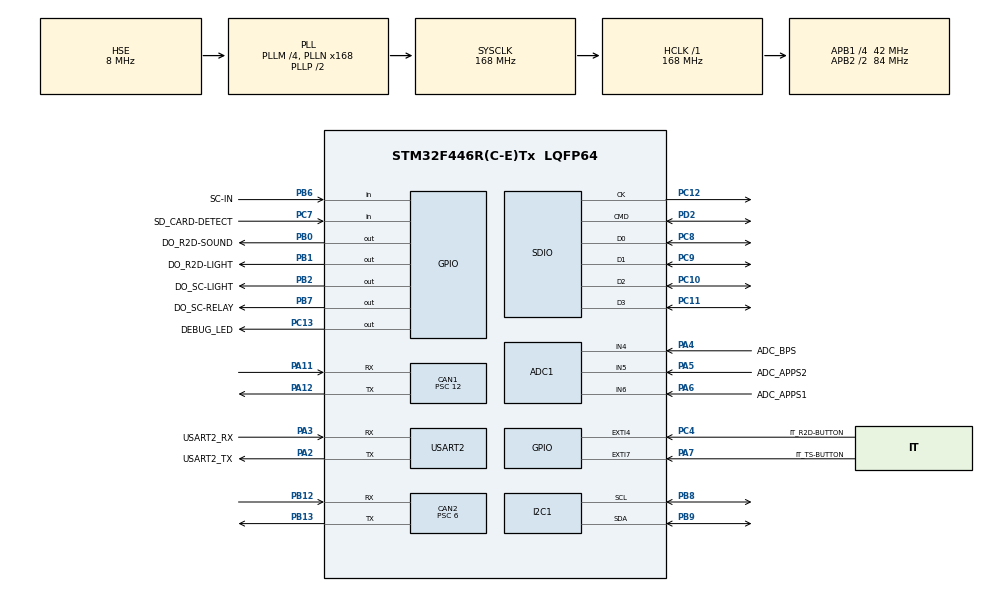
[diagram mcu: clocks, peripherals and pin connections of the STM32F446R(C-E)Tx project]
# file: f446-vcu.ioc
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ADC1.Channel-0\#ChannelRegularConversion=ADC_CHANNEL_4
ADC1.Channel-2\#ChannelRegularConversion=ADC_CHANNEL_5
ADC1.Channel-3\#ChannelRegularConversion=ADC_CHANNEL_6
ADC1.ClockPrescaler=ADC_CLOCK_SYNC_PCLK_DIV8
ADC1.ContinuousConvMode=ENABLE
ADC1.DMAContinuousRequests=ENABLE
ADC1.NbrOfConversion=3
ADC1.NbrOfConversionFlag=1
ADC1.Rank-0\#ChannelRegularConversion=1
ADC1.Rank-2\#ChannelRegularConversion=2
ADC1.Rank-3\#ChannelRegularConversion=3
ADC1.SamplingTime-0\#ChannelRegularConversion=ADC_SAMPLETIME_56CYCLES
ADC1.SamplingTime-2\#ChannelRegularConversion=ADC_SAMPLETIME_56CYCLES
ADC1.SamplingTime-3\#ChannelRegularConversion=ADC_SAMPLETIME_56CYCLES
ADC1.ScanConvMode=ENABLE
ADC1.master=1
CAN1.ABOM=ENABLE
CAN1.AWUM=ENABLE
CAN1.BS1=CAN_BS1_11TQ
CAN1.BS2=CAN_BS2_2TQ
CAN1.CalculateBaudRate=250000
CAN1.CalculateTimeBit=4000
CAN1.CalculateTimeQuantum=285.7142857142857
CAN1.NART=ENABLE
CAN1.Prescaler=12
CAN2.ABOM=ENABLE
CAN2.AWUM=ENABLE
CAN2.BS1=CAN_BS1_11TQ
CAN2.BS2=CAN_BS2_2TQ
CAN2.CalculateBaudRate=500000
CAN2.CalculateTimeBit=2000
CAN2.CalculateTimeQuantum=142.85714285714286
CAN2.NART=ENABLE
CAN2.Prescaler=6
Dma.ADC1.4.Direction=DMA_PERIPH_TO_MEMORY
Dma.ADC1.4.FIFOMode=DMA_FIFOMODE_DISABLE
Dma.ADC1.4.Instance=DMA2_Stream0
Dma.ADC1.4.MemDataAlignment=DMA_MDATAALIGN_HALFWORD
Dma.ADC1.4.MemInc=DMA_MINC_ENABLE
Dma.ADC1.4.Mode=DMA_CIRCULAR
Dma.ADC1.4.PeriphDataAlignment=DMA_PDATAALIGN_HALFWORD
Dma.ADC1.4.PeriphInc=DMA_PINC_DISABLE
Dma.ADC1.4.Priority=DMA_PRIORITY_LOW
Dma.I2C1_TX.1.Direction=DMA_MEMORY_TO_PERIPH
Dma.I2C1_TX.1.FIFOMode=DMA_FIFOMODE_ENABLE
Dma.I2C1_TX.1.FIFOThreshold=DMA_FIFO_THRESHOLD_FULL
Dma.I2C1_TX.1.Instance=DMA1_Stream7
Dma.I2C1_TX.1.MemBurst=DMA_MBURST_SINGLE
Dma.I2C1_TX.1.MemDataAlignment=DMA_MDATAALIGN_BYTE
Dma.I2C1_TX.1.MemInc=DMA_MINC_ENABLE
Dma.I2C1_TX.1.Mode=DMA_NORMAL
Dma.I2C1_TX.1.PeriphBurst=DMA_PBURST_SINGLE
Dma.I2C1_TX.1.PeriphDataAlignment=DMA_PDATAALIGN_BYTE
Dma.I2C1_TX.1.PeriphInc=DMA_PINC_DISABLE
Dma.I2C1_TX.1.Priority=DMA_PRIORITY_LOW
Dma.Request0=USART2_TX
Dma.Request1=I2C1_TX
Dma.Request2=SDIO_RX
Dma.Request3=SDIO_TX
Dma.Request4=ADC1
Dma.SDIO_RX.2.Direction=DMA_PERIPH_TO_MEMORY
Dma.SDIO_RX.2.FIFOMode=DMA_FIFOMODE_ENABLE
Dma.SDIO_RX.2.FIFOThreshold=DMA_FIFO_THRESHOLD_FULL
Dma.SDIO_RX.2.Instance=DMA2_Stream3
Dma.SDIO_RX.2.MemBurst=DMA_MBURST_INC4
Dma.SDIO_RX.2.MemDataAlignment=DMA_MDATAALIGN_WORD
Dma.SDIO_RX.2.MemInc=DMA_MINC_ENABLE
Dma.SDIO_RX.2.Mode=DMA_PFCTRL
Dma.SDIO_RX.2.PeriphBurst=DMA_PBURST_INC4
Dma.SDIO_RX.2.PeriphDataAlignment=DMA_PDATAALIGN_WORD
Dma.SDIO_RX.2.PeriphInc=DMA_PINC_DISABLE
Dma.SDIO_RX.2.Priority=DMA_PRIORITY_LOW
Dma.SDIO_TX.3.Direction=DMA_MEMORY_TO_PERIPH
Dma.SDIO_TX.3.FIFOMode=DMA_FIFOMODE_ENABLE
Dma.SDIO_TX.3.FIFOThreshold=DMA_FIFO_THRESHOLD_FULL
Dma.SDIO_TX.3.Instance=DMA2_Stream6
Dma.SDIO_TX.3.MemBurst=DMA_MBURST_INC4
Dma.SDIO_TX.3.MemDataAlignment=DMA_MDATAALIGN_WORD
Dma.SDIO_TX.3.MemInc=DMA_MINC_ENABLE
Dma.SDIO_TX.3.Mode=DMA_PFCTRL
Dma.SDIO_TX.3.PeriphBurst=DMA_PBURST_INC4
Dma.SDIO_TX.3.PeriphDataAlignment=DMA_PDATAALIGN_WORD
Dma.SDIO_TX.3.PeriphInc=DMA_PINC_DISABLE
Dma.SDIO_TX.3.Priority=DMA_PRIORITY_LOW
Dma.USART2_TX.0.Direction=DMA_MEMORY_TO_PERIPH
Dma.USART2_TX.0.FIFOMode=DMA_FIFOMODE_DISABLE
Dma.USART2_TX.0.Instance=DMA1_Stream6
Dma.USART2_TX.0.MemDataAlignment=DMA_MDATAALIGN_BYTE
Dma.USART2_TX.0.MemInc=DMA_MINC_ENABLE
Dma.USART2_TX.0.Mode=DMA_NORMAL
Dma.USART2_TX.0.PeriphDataAlignment=DMA_PDATAALIGN_BYTE
Dma.USART2_TX.0.PeriphInc=DMA_PINC_DISABLE
Dma.USART2_TX.0.Priority=DMA_PRIORITY_LOW
FATFS.BSP.number=1
FATFS._FS_EXFAT=1
FATFS._USE_CHMOD=1
FATFS._USE_EXPAND=1
FATFS._USE_FIND=1
FATFS._USE_FORWARD=1
FATFS._USE_LABEL=1
FATFS._USE_LFN=3
FATFS0.BSP.STBoard=false
FATFS0.BSP.api=Unknown
FATFS0.BSP.instance=PC7
FATFS0.BSP.ip=GPIO
FATFS0.BSP.mode=Input
FATFS0.BSP.name=Detect_SDIO
FATFS0.BSP.solution=PC7
FREERTOS.Queues01=q_printf,16,printfString_t,0,Dynamic,NULL,NULL;q_can1Tx,16,CanTxMsg,0,Dynamic,NULL,NULL;q_can2Tx,16,CanTxMsg,0,Dynamic,NULL,NULL
FREERTOS.Tasks01=t_main,24,512,t_main_func,Default,NULL,Dynamic,NULL,NULL;t_faultHandler,40,512,t_faultHandler_func,Default,NULL,Dynamic,NULL,NULL;t_uart,32,512,t_uart_func,As external,NULL,Dynamic,NULL,NULL;t_logging,8,512,t_logging_func,Default,NULL,Dynamic,NULL,NULL;t_can,32,512,t_can_func,As external,NULL,Dynamic,NULL,NULL
FREERTOS.Timers01=tim_invrtrCmd,invrtrCmd_Callback,osTimerPeriodic,Default,NULL,Dynamic,NULL
FREERTOS.configENABLE_FPU=1
FREERTOS.configMAX_TASK_NAME_LEN=32
FREERTOS.configMINIMAL_STACK_SIZE=512
FREERTOS.configTOTAL_HEAP_SIZE=32000
FREERTOS.configUSE_NEWLIB_REENTRANT=1
I2C1.I2C_Mode=I2C_Fast
Mcu.Family=STM32F4
Mcu.Name=STM32F446R(C-E)Tx
Mcu.Package=LQFP64
NVIC.CAN1_RX0_IRQn=true\:5\:0\:false\:false\:true\:true\:true\:true\:true
NVIC.CAN1_RX1_IRQn=true\:5\:0\:false\:false\:true\:true\:true\:true\:true
NVIC.CAN1_SCE_IRQn=true\:5\:0\:false\:false\:true\:true\:true\:true\:true
NVIC.CAN1_TX_IRQn=true\:5\:0\:false\:false\:true\:true\:true\:true\:true
NVIC.CAN2_RX0_IRQn=true\:5\:0\:false\:false\:true\:true\:true\:true\:true
NVIC.CAN2_RX1_IRQn=true\:5\:0\:false\:false\:true\:true\:true\:true\:true
NVIC.CAN2_SCE_IRQn=true\:5\:0\:false\:false\:true\:true\:true\:true\:true
NVIC.DMA1_Stream6_IRQn=true\:5\:0\:false\:false\:true\:true\:false\:true\:true
NVIC.DMA1_Stream7_IRQn=true\:5\:0\:false\:false\:true\:true\:false\:true\:true
NVIC.DMA2_Stream0_IRQn=true\:5\:0\:false\:false\:true\:true\:false\:true\:true
NVIC.DMA2_Stream3_IRQn=true\:5\:0\:false\:false\:true\:true\:false\:true\:true
NVIC.DMA2_Stream6_IRQn=true\:5\:0\:false\:false\:true\:true\:false\:true\:true
NVIC.EXTI4_IRQn=true\:5\:0\:false\:false\:true\:true\:true\:true\:true
NVIC.EXTI9_5_IRQn=true\:5\:0\:false\:false\:true\:true\:true\:true\:true
NVIC.I2C1_EV_IRQn=true\:5\:0\:false\:false\:true\:true\:true\:true\:true
NVIC.PriorityGroup=NVIC_PRIORITYGROUP_4
NVIC.SDIO_IRQn=true\:5\:0\:false\:false\:true\:true\:true\:true\:true
NVIC.TIM4_IRQn=true\:15\:0\:false\:false\:true\:false\:false\:true\:true
NVIC.TimeBase=TIM4_IRQn
NVIC.TimeBaseIP=TIM4
NVIC.USART2_IRQn=true\:5\:0\:false\:false\:true\:true\:true\:true\:true
PA11.Mode=CAN_Activate
PA11.Signal=CAN1_RX
PA12.Mode=CAN_Activate
PA12.Signal=CAN1_TX
PA13.GPIO_Label=SWDIO
PA13.Mode=Trace_Asynchronous_SW
PA13.Signal=SYS_JTMS-SWDIO
PA14.GPIO_Label=SWCLK
PA14.Mode=Trace_Asynchronous_SW
PA14.Signal=SYS_JTCK-SWCLK
PA2.GPIO_Label=USART2_TX
PA2.Mode=Asynchronous
PA2.Signal=USART2_TX
PA3.GPIO_Label=USART2_RX
PA3.Mode=Asynchronous
PA3.Signal=USART2_RX
PA4.GPIO_Label=ADC_BPS
PA4.Signal=ADCx_IN4
PA5.GPIO_Label=ADC_APPS2
PA5.Signal=ADCx_IN5
PA6.GPIO_Label=ADC_APPS1
PA6.Signal=ADCx_IN6
PA7.GPIO_Label=IT_TS-BUTTON
PA7.GPIO_ModeDefaultEXTI=GPIO_MODE_IT_RISING
PA7.GPIO_PuPd=GPIO_PULLDOWN
PA7.Signal=GPXTI7
PB0.GPIO_Label=DO_R2D-SOUND
PB0.Signal=GPIO_Output
PB1.GPIO_Label=DO_R2D-LIGHT
PB1.Signal=GPIO_Output
PB12.Mode=CAN_Activate
PB12.Signal=CAN2_RX
PB13.Mode=CAN_Activate
PB13.Signal=CAN2_TX
PB2.GPIO_Label=DO_SC-LIGHT
PB2.Signal=GPIO_Output
PB3.GPIO_Label=SWO
PB3.Mode=Trace_Asynchronous_SW
PB3.Signal=SYS_JTDO-SWO
PB6.GPIO_Label=SC-IN
PB6.GPIO_PuPd=GPIO_PULLDOWN
PB6.Signal=GPIO_Input
PB7.GPIO_Label=DO_SC-RELAY
PB7.Signal=GPIO_Output
PB8.GPIO_Speed=GPIO_SPEED_FREQ_VERY_HIGH
PB8.Mode=I2C
PB8.Signal=I2C1_SCL
PB9.GPIO_Speed=GPIO_SPEED_FREQ_VERY_HIGH
PB9.Mode=I2C
PB9.Signal=I2C1_SDA
PC10.GPIO_PuPd=GPIO_PULLUP
PC10.GPIO_Speed_High_Default=GPIO_SPEED_FREQ_MEDIUM
PC10.Mode=SD_4_bits_Wide_bus
PC10.Signal=SDIO_D2
PC11.GPIO_PuPd=GPIO_PULLUP
PC11.GPIO_Speed_High_Default=GPIO_SPEED_FREQ_MEDIUM
PC11.Mode=SD_4_bits_Wide_bus
PC11.Signal=SDIO_D3
PC12.GPIO_Speed_High_Default=GPIO_SPEED_FREQ_MEDIUM
PC12.Mode=SD_4_bits_Wide_bus
PC12.Signal=SDIO_CK
PC13.GPIO_Label=DEBUG_LED
PC13.Signal=GPIO_Output
PC4.GPIO_Label=IT_R2D-BUTTON
PC4.GPIO_PuPd=GPIO_PULLDOWN
PC4.Signal=GPXTI4
PC7.GPIO_Label=SD_CARD-DETECT
PC7.GPIO_PuPd=GPIO_PULLDOWN
PC7.Signal=GPIO_Input
PC8.GPIO_PuPd=GPIO_PULLUP
PC8.GPIO_Speed_High_Default=GPIO_SPEED_FREQ_MEDIUM
PC8.Mode=SD_4_bits_Wide_bus
PC8.Signal=SDIO_D0
PC9.GPIO_PuPd=GPIO_PULLUP
PC9.GPIO_Speed_High_Default=GPIO_SPEED_FREQ_MEDIUM
PC9.Mode=SD_4_bits_Wide_bus
PC9.Signal=SDIO_D1
PD2.GPIO_PuPd=GPIO_PULLUP
PD2.GPIO_Speed_High_Default=GPIO_SPEED_FREQ_MEDIUM
PD2.Mode=SD_4_bits_Wide_bus
PD2.Signal=SDIO_CMD
PH0-OSC_IN.Mode=HSE-External-Oscillator
PH0-OSC_IN.Signal=RCC_OSC_IN
PH1-OSC_OUT.Mode=HSE-External-Oscillator
PH1-OSC_OUT.Signal=RCC_OSC_OUT
ProjectManager.HeapSize=0x400
ProjectManager.StackSize=0x800
ProjectManager.TargetToolchain=STM32CubeIDE
RCC.AHBFreq_Value=168000000
RCC.APB1CLKDivider=RCC_HCLK_DIV4
RCC.APB1Freq_Value=42000000
RCC.APB1TimFreq_Value=84000000
RCC.APB2CLKDivider=RCC_HCLK_DIV2
RCC.APB2Freq_Value=84000000
RCC.APB2TimFreq_Value=168000000
RCC.CortexFreq_Value=168000000
RCC.FLatency-AdvancedSettings=FLASH_LATENCY_5
RCC.HCLKFreq_Value=168000000
RCC.HSE_VALUE=8000000
RCC.HSI_VALUE=16000000
RCC.LSE_VALUE=32768
RCC.LockedElements=SDIOoutput
RCC.PLLM=4
RCC.PLLN=168
RCC.PLLQ=7
RCC.PLLSourceVirtual=RCC_PLLSOURCE_HSE
RCC.SYSCLKFreq_VALUE=168000000
RCC.SYSCLKSource=RCC_SYSCLKSOURCE_PLLCLK
RCC.USBFreq_Value=48000000
RCC.VCOOutputFreq_Value=336000000
SDIO.ClockDiv=0
SH.ADCx_IN4.0=ADC1_IN4,IN4
SH.ADCx_IN5.0=ADC1_IN5,IN5
SH.ADCx_IN6.0=ADC1_IN6,IN6
USART2.VirtualMode=VM_ASYNC
VP_FATFS_VS_SDIO.Mode=SDIO
VP_FREERTOS_VS_CMSIS_V2.Mode=CMSIS_V2
VP_SYS_VS_tim4.Mode=TIM4
board=NUCLEO-F446RE

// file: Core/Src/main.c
/* USER CODE BEGIN Header */
/**
  ******************************************************************************
  * @file           : main.c
  * @brief          : Main program body
  ******************************************************************************
  * @attention
  *
  * Copyright (c) 2024 STMicroelectronics.
  * All rights reserved.
  *
  * This software is licensed under terms that can be found in the LICENSE file
  * in the root directory of this software component.
  * If no LICENSE file comes with this software, it is provided AS-IS.
  *
  ******************************************************************************
  */
/* USER CODE END Header */
#include "main.h"
#include "cmsis_os.h"
#include "fatfs.h"

/* USER CODE BEGIN Includes */

#include "stdbool.h"
#include "string.h"
#include "stdio.h"
#include "math.h"

#include "uartDMA.h"
#include "ssd1306.h"
#include "inverter.h"
#include "vcu_can.h"

/* USER CODE END Includes */

/* USER CODE BEGIN PTD */

typedef enum
{
    TS_INACTIVE,
    TS_ACTIVE,
    R2D_TRANSITION,
    R2D_MODE,
} VcuState;

typedef struct
{
    bool APPS1_SCS;
    bool APPS2_SCS;
    bool APPS_PB;

    bool BPS_SCS;
    bool BPS_PB;
} VcuErrors;

typedef struct
{
    bool SDC_Disconnected;
} VcuCritErrors;

/* USER CODE END PTD */

/* USER CODE BEGIN PD */
#define ADC_BUF_LEN (1024 * 3)

VcuErrors vcuError = {0};
VcuCritErrors vcuCritError = {0};

volatile VcuState currVcuState = TS_INACTIVE;
volatile VcuState prevVcuState = TS_INACTIVE;

uint16_t adc1Buff[ADC_BUF_LEN]; // buffer to store values read from adc1
uint16_t volatile apps1Avg = 0;
uint16_t volatile apps2Avg = 0;
uint16_t volatile bpsAvg = 0;

float volatile apps1Scaled = 0;
float volatile apps2Scaled = 0;
float volatile appsPosition = 0;

float volatile appsDiff = 0;

volatile bool isFaultNormal   = false;
volatile bool isFaultCritical = false;

volatile bool isBrakePressed = false;

bool isCardDetected = false;

// 4.5V -> 3686
// 0.5V -> 410

const uint16_t ADC_MAX = 4095;

const uint16_t APPS1_MAX = 3180;
const uint16_t APPS1_MIN = 420;
const uint16_t APPS2_MAX = 3520;
const uint16_t APPS2_MIN = 845;
const uint16_t APPS_SCS_OFFSET = 0.1 / 5.0 * ADC_MAX;   // Volts offset to be considered SCS Fault

const uint16_t BPS_THRESH = ADC_MAX * 0.5;
const uint16_t BPS_SCS_UPPER = 4.75 / 5.0 * ADC_MAX;
const uint16_t BPS_SCS_LOWER = 0.25 / 5.0 * ADC_MAX;

const bool     CMD_SEL_ERPM = true;         // TRUE: ERPM, FALSE: CURRENT
const uint32_t CMD_ERPM_MAX = 50000;        // ERPM = Motor RPM * number of the motor pole pairs
const float    CMD_DC_CURRENT_MAX = 10;     // Amps
const float    CMD_AC_CURRENT_MAX = 10;     // Amps

/* USER CODE END PD */

ADC_HandleTypeDef hadc1;
DMA_HandleTypeDef hdma_adc1;

CAN_HandleTypeDef hcan1;
CAN_HandleTypeDef hcan2;

I2C_HandleTypeDef hi2c1;
DMA_HandleTypeDef hdma_i2c1_tx;

SD_HandleTypeDef hsd;
DMA_HandleTypeDef hdma_sdio_rx;
DMA_HandleTypeDef hdma_sdio_tx;

UART_HandleTypeDef huart2;
DMA_HandleTypeDef hdma_usart2_tx;

/* Definitions for t_main */
osThreadId_t t_mainHandle;
const osThreadAttr_t t_main_attributes = {
  .name = "t_main",
  .stack_size = 512 * 4,
  .priority = (osPriority_t) osPriorityNormal,
};
/* Definitions for t_faultHandler */
osThreadId_t t_faultHandlerHandle;
const osThreadAttr_t t_faultHandler_attributes = {
  .name = "t_faultHandler",
  .stack_size = 512 * 4,
  .priority = (osPriority_t) osPriorityHigh,
};
/* Definitions for t_uart */
osThreadId_t t_uartHandle;
const osThreadAttr_t t_uart_attributes = {
  .name = "t_uart",
  .stack_size = 512 * 4,
  .priority = (osPriority_t) osPriorityAboveNormal,
};
/* Definitions for t_logging */
osThreadId_t t_loggingHandle;
const osThreadAttr_t t_logging_attributes = {
  .name = "t_logging",
  .stack_size = 512 * 4,
  .priority = (osPriority_t) osPriorityLow,
};
/* Definitions for t_can */
osThreadId_t t_canHandle;
const osThreadAttr_t t_can_attributes = {
  .name = "t_can",
  .stack_size = 512 * 4,
  .priority = (osPriority_t) osPriorityAboveNormal,
};
/* Definitions for q_printf */
osMessageQueueId_t q_printfHandle;
const osMessageQueueAttr_t q_printf_attributes = {
  .name = "q_printf"
};
/* Definitions for q_can1Tx */
osMessageQueueId_t q_can1TxHandle;
const osMessageQueueAttr_t q_can1Tx_attributes = {
  .name = "q_can1Tx"
};
/* Definitions for q_can2Tx */
osMessageQueueId_t q_can2TxHandle;
const osMessageQueueAttr_t q_can2Tx_attributes = {
  .name = "q_can2Tx"
};
/* Definitions for tim_invrtrCmd */
osTimerId_t tim_invrtrCmdHandle;
const osTimerAttr_t tim_invrtrCmd_attributes = {
  .name = "tim_invrtrCmd"
};

void SystemClock_Config(void);
static void MX_GPIO_Init(void);
static void MX_DMA_Init(void);
static void MX_ADC1_Init(void);
static void MX_CAN1_Init(void);
static void MX_CAN2_Init(void);
static void MX_I2C1_Init(void);
static void MX_USART2_UART_Init(void);
static void MX_SDIO_SD_Init(void);
void t_main_func(void *argument);
void t_faultHandler_func(void *argument);
extern void t_uart_func(void *argument);
void t_logging_func(void *argument);
extern void t_can_func(void *argument);
void invrtrCmd_Callback(void *argument);

/* USER CODE BEGIN 0 */

uint8_t BSP_SD_IsDetected(void)
{
  __IO uint8_t status = SD_PRESENT;

  if(HAL_GPIO_ReadPin(SD_DETECT_GPIO_PORT, SD_DETECT_PIN) != GPIO_PIN_SET)
  {
      status = SD_NOT_PRESENT;
  }

  return status;
}

/* USER CODE END 0 */

int main(void)
{

  /* MCU Configuration--------------------------------------------------------*/

  /* Reset of all peripherals, Initializes the Flash interface and the Systick. */
  HAL_Init();

  /* Configure the system clock */
  SystemClock_Config();

  /* USER CODE BEGIN SysInit */

  HAL_Delay(1000);          // Boot Delay

  /* USER CODE END SysInit */

  /* Initialize all configured peripherals */
  MX_GPIO_Init();
  MX_DMA_Init();
  MX_ADC1_Init();
  MX_CAN1_Init();
  MX_CAN2_Init();
  MX_I2C1_Init();
  MX_USART2_UART_Init();
  MX_SDIO_SD_Init();
  MX_FATFS_Init();

  /* Init scheduler */
  osKernelInitialize();

  /* Create the timer(s) */
  /* creation of tim_invrtrCmd */
  tim_invrtrCmdHandle = osTimerNew(invrtrCmd_Callback, osTimerPeriodic, NULL, &tim_invrtrCmd_attributes);

  /* Create the queue(s) */
  /* creation of q_printf */
  q_printfHandle = osMessageQueueNew (16, sizeof(printfString_t), &q_printf_attributes);

  /* creation of q_can1Tx */
  q_can1TxHandle = osMessageQueueNew (16, sizeof(CanTxMsg), &q_can1Tx_attributes);

  /* creation of q_can2Tx */
  q_can2TxHandle = osMessageQueueNew (16, sizeof(CanTxMsg), &q_can2Tx_attributes);

  /* Create the thread(s) */
  /* creation of t_main */
  t_mainHandle = osThreadNew(t_main_func, NULL, &t_main_attributes);

  /* creation of t_faultHandler */
  t_faultHandlerHandle = osThreadNew(t_faultHandler_func, NULL, &t_faultHandler_attributes);

  /* creation of t_uart */
  t_uartHandle = osThreadNew(t_uart_func, NULL, &t_uart_attributes);

  /* creation of t_logging */
  t_loggingHandle = osThreadNew(t_logging_func, NULL, &t_logging_attributes);

  /* creation of t_can */
  t_canHandle = osThreadNew(t_can_func, NULL, &t_can_attributes);

  /* Start scheduler */
  osKernelStart();

  /* We should never get here as control is now taken by the scheduler */

  /* Infinite loop */
  while (1)
  {

  }
}

void SystemClock_Config(void)
{
  RCC_OscInitTypeDef RCC_OscInitStruct = {0};
  RCC_ClkInitTypeDef RCC_ClkInitStruct = {0};

  /** Configure the main internal regulator output voltage
  */
  __HAL_RCC_PWR_CLK_ENABLE();
  __HAL_PWR_VOLTAGESCALING_CONFIG(PWR_REGULATOR_VOLTAGE_SCALE1);

  /** Initializes the RCC Oscillators according to the specified parameters
  * in the RCC_OscInitTypeDef structure.
  */
  RCC_OscInitStruct.OscillatorType = RCC_OSCILLATORTYPE_HSE;
  RCC_OscInitStruct.HSEState = RCC_HSE_ON;
  RCC_OscInitStruct.PLL.PLLState = RCC_PLL_ON;
  RCC_OscInitStruct.PLL.PLLSource = RCC_PLLSOURCE_HSE;
  RCC_OscInitStruct.PLL.PLLM = 4;
  RCC_OscInitStruct.PLL.PLLN = 168;
  RCC_OscInitStruct.PLL.PLLP = RCC_PLLP_DIV2;
  RCC_OscInitStruct.PLL.PLLQ = 7;
  RCC_OscInitStruct.PLL.PLLR = 2;
  if (HAL_RCC_OscConfig(&RCC_OscInitStruct) != HAL_OK)
  {
    Error_Handler();
  }

  /** Initializes the CPU, AHB and APB buses clocks
  */
  RCC_ClkInitStruct.ClockType = RCC_CLOCKTYPE_HCLK|RCC_CLOCKTYPE_SYSCLK
                              |RCC_CLOCKTYPE_PCLK1|RCC_CLOCKTYPE_PCLK2;
  RCC_ClkInitStruct.SYSCLKSource = RCC_SYSCLKSOURCE_PLLCLK;
  RCC_ClkInitStruct.AHBCLKDivider = RCC_SYSCLK_DIV1;
  RCC_ClkInitStruct.APB1CLKDivider = RCC_HCLK_DIV4;
  RCC_ClkInitStruct.APB2CLKDivider = RCC_HCLK_DIV2;

  if (HAL_RCC_ClockConfig(&RCC_ClkInitStruct, FLASH_LATENCY_5) != HAL_OK)
  {
    Error_Handler();
  }
}

static void MX_ADC1_Init(void)
{

  ADC_ChannelConfTypeDef sConfig = {0};

  /** Configure the global features of the ADC (Clock, Resolution, Data Alignment and number of conversion)
  */
  hadc1.Instance = ADC1;
  hadc1.Init.ClockPrescaler = ADC_CLOCK_SYNC_PCLK_DIV8;
  hadc1.Init.Resolution = ADC_RESOLUTION_12B;
  hadc1.Init.ScanConvMode = ENABLE;
  hadc1.Init.ContinuousConvMode = ENABLE;
  hadc1.Init.DiscontinuousConvMode = DISABLE;
  hadc1.Init.ExternalTrigConvEdge = ADC_EXTERNALTRIGCONVEDGE_NONE;
  hadc1.Init.ExternalTrigConv = ADC_SOFTWARE_START;
  hadc1.Init.DataAlign = ADC_DATAALIGN_RIGHT;
  hadc1.Init.NbrOfConversion = 3;
  hadc1.Init.DMAContinuousRequests = ENABLE;
  hadc1.Init.EOCSelection = ADC_EOC_SINGLE_CONV;
  if (HAL_ADC_Init(&hadc1) != HAL_OK)
  {
    Error_Handler();
  }

  /** Configure for the selected ADC regular channel its corresponding rank in the sequencer and its sample time.
  */
  sConfig.Channel = ADC_CHANNEL_4;
  sConfig.Rank = 1;
  sConfig.SamplingTime = ADC_SAMPLETIME_56CYCLES;
  if (HAL_ADC_ConfigChannel(&hadc1, &sConfig) != HAL_OK)
  {
    Error_Handler();
  }

  /** Configure for the selected ADC regular channel its corresponding rank in the sequencer and its sample time.
  */
  sConfig.Channel = ADC_CHANNEL_5;
  sConfig.Rank = 2;
  if (HAL_ADC_ConfigChannel(&hadc1, &sConfig) != HAL_OK)
  {
    Error_Handler();
  }

  /** Configure for the selected ADC regular channel its corresponding rank in the sequencer and its sample time.
  */
  sConfig.Channel = ADC_CHANNEL_6;
  sConfig.Rank = 3;
  if (HAL_ADC_ConfigChannel(&hadc1, &sConfig) != HAL_OK)
  {
    Error_Handler();
  }

}

static void MX_CAN1_Init(void)
{

  hcan1.Instance = CAN1;
  hcan1.Init.Prescaler = 12;
  hcan1.Init.Mode = CAN_MODE_NORMAL;
  hcan1.Init.SyncJumpWidth = CAN_SJW_1TQ;
  hcan1.Init.TimeSeg1 = CAN_BS1_11TQ;
  hcan1.Init.TimeSeg2 = CAN_BS2_2TQ;
  hcan1.Init.TimeTriggeredMode = DISABLE;
  hcan1.Init.AutoBusOff = ENABLE;
  hcan1.Init.AutoWakeUp = ENABLE;
  hcan1.Init.AutoRetransmission = ENABLE;
  hcan1.Init.ReceiveFifoLocked = DISABLE;
  hcan1.Init.TransmitFifoPriority = DISABLE;
  if (HAL_CAN_Init(&hcan1) != HAL_OK)
  {
    Error_Handler();
  }

}

static void MX_CAN2_Init(void)
{

  hcan2.Instance = CAN2;
  hcan2.Init.Prescaler = 6;
  hcan2.Init.Mode = CAN_MODE_NORMAL;
  hcan2.Init.SyncJumpWidth = CAN_SJW_1TQ;
  hcan2.Init.TimeSeg1 = CAN_BS1_11TQ;
  hcan2.Init.TimeSeg2 = CAN_BS2_2TQ;
  hcan2.Init.TimeTriggeredMode = DISABLE;
  hcan2.Init.AutoBusOff = ENABLE;
  hcan2.Init.AutoWakeUp = ENABLE;
  hcan2.Init.AutoRetransmission = ENABLE;
  hcan2.Init.ReceiveFifoLocked = DISABLE;
  hcan2.Init.TransmitFifoPriority = DISABLE;
  if (HAL_CAN_Init(&hcan2) != HAL_OK)
  {
    Error_Handler();
  }

}

static void MX_I2C1_Init(void)
{

  hi2c1.Instance = I2C1;
  hi2c1.Init.ClockSpeed = 400000;
  hi2c1.Init.DutyCycle = I2C_DUTYCYCLE_2;
  hi2c1.Init.OwnAddress1 = 0;
  hi2c1.Init.AddressingMode = I2C_ADDRESSINGMODE_7BIT;
  hi2c1.Init.DualAddressMode = I2C_DUALADDRESS_DISABLE;
  hi2c1.Init.OwnAddress2 = 0;
  hi2c1.Init.GeneralCallMode = I2C_GENERALCALL_DISABLE;
  hi2c1.Init.NoStretchMode = I2C_NOSTRETCH_DISABLE;
  if (HAL_I2C_Init(&hi2c1) != HAL_OK)
  {
    Error_Handler();
  }

}

static void MX_SDIO_SD_Init(void)
{

  /* USER CODE BEGIN SDIO_Init 1 */

    hsd.Instance = SDIO;
    hsd.Init.ClockEdge = SDIO_CLOCK_EDGE_RISING;
    hsd.Init.ClockBypass = SDIO_CLOCK_BYPASS_DISABLE;
    hsd.Init.ClockPowerSave = SDIO_CLOCK_POWER_SAVE_DISABLE;
    // Corrected to 1B for initialisation: https://community.st.com/t5/stm32cubemx-mcus/sdio-interface-not-working-in-4bits-with-stm32f4-firmware/m-p/625603#M26901
    // SDIO always init at 1B bus width
    hsd.Init.BusWide = SDIO_BUS_WIDE_1B;
    hsd.Init.HardwareFlowControl = SDIO_HARDWARE_FLOW_CONTROL_DISABLE;
    hsd.Init.ClockDiv = 0;

#define ONLY_USER_INIT // Tired of editing the code every time you change, the line "hsd.Init.BusWide = SDIO_BUS_WIDE_4B;"
#ifndef ONLY_USER_INIT

  /* USER CODE END SDIO_Init 1 */
  hsd.Instance = SDIO;
  hsd.Init.ClockEdge = SDIO_CLOCK_EDGE_RISING;
  hsd.Init.ClockBypass = SDIO_CLOCK_BYPASS_DISABLE;
  hsd.Init.ClockPowerSave = SDIO_CLOCK_POWER_SAVE_DISABLE;
  hsd.Init.BusWide = SDIO_BUS_WIDE_4B;
  hsd.Init.HardwareFlowControl = SDIO_HARDWARE_FLOW_CONTROL_DISABLE;
  hsd.Init.ClockDiv = 0;
  /* USER CODE BEGIN SDIO_Init 2 */

#endif

  if (BSP_SD_IsDetected())
  {
      if (HAL_SD_Init(&hsd) != HAL_OK)
      {
          Error_Handler();
      }
      if (HAL_SD_ConfigWideBusOperation(&hsd, SDIO_BUS_WIDE_4B) != HAL_OK)
      {
          Error_Handler();
      }
      isCardDetected = true;
  }
  else
  {
      isCardDetected = false;
      HAL_GPIO_WritePin(DEBUG_LED_GPIO_Port, DEBUG_LED_Pin, GPIO_PIN_SET);
  }

  /* USER CODE END SDIO_Init 2 */

}

static void MX_USART2_UART_Init(void)
{

  huart2.Instance = USART2;
  huart2.Init.BaudRate = 115200;
  huart2.Init.WordLength = UART_WORDLENGTH_8B;
  huart2.Init.StopBits = UART_STOPBITS_1;
  huart2.Init.Parity = UART_PARITY_NONE;
  huart2.Init.Mode = UART_MODE_TX_RX;
  huart2.Init.HwFlowCtl = UART_HWCONTROL_NONE;
  huart2.Init.OverSampling = UART_OVERSAMPLING_16;
  if (HAL_UART_Init(&huart2) != HAL_OK)
  {
    Error_Handler();
  }

}

static void MX_DMA_Init(void)
{

  /* DMA controller clock enable */
  __HAL_RCC_DMA1_CLK_ENABLE();
  __HAL_RCC_DMA2_CLK_ENABLE();

  /* DMA interrupt init */
  /* DMA1_Stream6_IRQn interrupt configuration */
  HAL_NVIC_SetPriority(DMA1_Stream6_IRQn, 5, 0);
  HAL_NVIC_EnableIRQ(DMA1_Stream6_IRQn);
  /* DMA1_Stream7_IRQn interrupt configuration */
  HAL_NVIC_SetPriority(DMA1_Stream7_IRQn, 5, 0);
  HAL_NVIC_EnableIRQ(DMA1_Stream7_IRQn);
  /* DMA2_Stream0_IRQn interrupt configuration */
  HAL_NVIC_SetPriority(DMA2_Stream0_IRQn, 5, 0);
  HAL_NVIC_EnableIRQ(DMA2_Stream0_IRQn);
  /* DMA2_Stream3_IRQn interrupt configuration */
  HAL_NVIC_SetPriority(DMA2_Stream3_IRQn, 5, 0);
  HAL_NVIC_EnableIRQ(DMA2_Stream3_IRQn);
  /* DMA2_Stream6_IRQn interrupt configuration */
  HAL_NVIC_SetPriority(DMA2_Stream6_IRQn, 5, 0);
  HAL_NVIC_EnableIRQ(DMA2_Stream6_IRQn);

}

static void MX_GPIO_Init(void)
{
  GPIO_InitTypeDef GPIO_InitStruct = {0};

  /* GPIO Ports Clock Enable */
  __HAL_RCC_GPIOC_CLK_ENABLE();
  __HAL_RCC_GPIOH_CLK_ENABLE();
  __HAL_RCC_GPIOA_CLK_ENABLE();
  __HAL_RCC_GPIOB_CLK_ENABLE();
  __HAL_RCC_GPIOD_CLK_ENABLE();

  /*Configure GPIO pin Output Level */
  HAL_GPIO_WritePin(DEBUG_LED_GPIO_Port, DEBUG_LED_Pin, GPIO_PIN_RESET);

  /*Configure GPIO pin Output Level */
  HAL_GPIO_WritePin(GPIOB, DO_R2D_SOUND_Pin|DO_R2D_LIGHT_Pin|DO_SC_LIGHT_Pin|DO_SC_RELAY_Pin, GPIO_PIN_RESET);

  /*Configure GPIO pin : DEBUG_LED_Pin */
  GPIO_InitStruct.Pin = DEBUG_LED_Pin;
  GPIO_InitStruct.Mode = GPIO_MODE_OUTPUT_PP;
  GPIO_InitStruct.Pull = GPIO_NOPULL;
  GPIO_InitStruct.Speed = GPIO_SPEED_FREQ_LOW;
  HAL_GPIO_Init(DEBUG_LED_GPIO_Port, &GPIO_InitStruct);

  /*Configure GPIO pin : IT_TS_BUTTON_Pin */
  GPIO_InitStruct.Pin = IT_TS_BUTTON_Pin;
  GPIO_InitStruct.Mode = GPIO_MODE_IT_RISING;
  GPIO_InitStruct.Pull = GPIO_PULLDOWN;
  HAL_GPIO_Init(IT_TS_BUTTON_GPIO_Port, &GPIO_InitStruct);

  /*Configure GPIO pin : IT_R2D_BUTTON_Pin */
  GPIO_InitStruct.Pin = IT_R2D_BUTTON_Pin;
  GPIO_InitStruct.Mode = GPIO_MODE_IT_RISING;
  GPIO_InitStruct.Pull = GPIO_PULLDOWN;
  HAL_GPIO_Init(IT_R2D_BUTTON_GPIO_Port, &GPIO_InitStruct);

  /*Configure GPIO pins : DO_R2D_SOUND_Pin DO_R2D_LIGHT_Pin DO_SC_LIGHT_Pin DO_SC_RELAY_Pin */
  GPIO_InitStruct.Pin = DO_R2D_SOUND_Pin|DO_R2D_LIGHT_Pin|DO_SC_LIGHT_Pin|DO_SC_RELAY_Pin;
  GPIO_InitStruct.Mode = GPIO_MODE_OUTPUT_PP;
  GPIO_InitStruct.Pull = GPIO_NOPULL;
  GPIO_InitStruct.Speed = GPIO_SPEED_FREQ_LOW;
  HAL_GPIO_Init(GPIOB, &GPIO_InitStruct);

  /*Configure GPIO pin : SD_CARD_DETECT_Pin */
  GPIO_InitStruct.Pin = SD_CARD_DETECT_Pin;
  GPIO_InitStruct.Mode = GPIO_MODE_INPUT;
  GPIO_InitStruct.Pull = GPIO_PULLDOWN;
  HAL_GPIO_Init(SD_CARD_DETECT_GPIO_Port, &GPIO_InitStruct);

  /*Configure GPIO pin : SC_IN_Pin */
  GPIO_InitStruct.Pin = SC_IN_Pin;
  GPIO_InitStruct.Mode = GPIO_MODE_INPUT;
  GPIO_InitStruct.Pull = GPIO_PULLDOWN;
  HAL_GPIO_Init(SC_IN_GPIO_Port, &GPIO_InitStruct);

  /* EXTI interrupt init*/
  HAL_NVIC_SetPriority(EXTI4_IRQn, 5, 0);
  HAL_NVIC_EnableIRQ(EXTI4_IRQn);

  HAL_NVIC_SetPriority(EXTI9_5_IRQn, 5, 0);
  HAL_NVIC_EnableIRQ(EXTI9_5_IRQn);

}

/* USER CODE BEGIN 4 */

bool buttonPressed_TS = false;
bool buttonPressed_R2D = false;
int interruptCount = 0;

void HAL_GPIO_EXTI_Callback(uint16_t GPIO_Pin)
{
    uint32_t currentTime = HAL_GetTick();

    const uint32_t DEBOUNCE_DELAY = 200;
    static uint32_t lastDebounceTime_TS = 0;
    static uint32_t lastDebounceTime_R2D = 0;

    switch (GPIO_Pin)
    {
        case IT_TS_BUTTON_Pin:
            // Debounce check
            if (currentTime - lastDebounceTime_TS < DEBOUNCE_DELAY) break;
            lastDebounceTime_TS = currentTime;
            buttonPressed_TS = true;
            printfDma("TS Button pressed\n");
            break;

        case IT_R2D_BUTTON_Pin:
            // Debounce check
            if (currentTime - lastDebounceTime_R2D < DEBOUNCE_DELAY) break;
            lastDebounceTime_R2D = currentTime;
            buttonPressed_R2D = true;
            printfDma("R2D Button pressed\n");
            break;

        default:
            break;
    }

    interruptCount++;
}

uint32_t prevTime = 0;
uint32_t timeDiff = 0;
uint32_t currTime = 0;
uint32_t setErpm = 0;

void ssd1306_RasterIntCallback(uint8_t r)
{
    currTime = HAL_GetTick();
    timeDiff = currTime - prevTime;
    prevTime = currTime;

    ssd1306_SetColor(Black);
    ssd1306_Fill();

    ssd1306_SetColor(White);
    ssd1306_DrawRect(0,  0, apps1Avg * 128 / ADC_MAX, 8);
    ssd1306_DrawRect(0,  0, apps2Avg * 128 / ADC_MAX, 8);

    char msg[32];
    char *stateStr;
    switch (currVcuState)
    {
        case TS_INACTIVE:
            stateStr = "IDLE";
            break;
        case TS_ACTIVE:
            stateStr = "TS";
            break;
        case R2D_TRANSITION:
            stateStr = "BUZ";
            break;
        case R2D_MODE:
            stateStr = "R2D";
            break;
        default:
            stateStr = "ERR";
            break;
    }

//    snprintf(msg, 64, "FPS: %.0lf (%ld ms)", 1 / ((float)timeDiff/1000.0), timeDiff);
    snprintf(msg, 64, "S%d%d%d P%d%d X%d (%s)",
             vcuError.APPS1_SCS,
             vcuError.APPS2_SCS,
             vcuError.BPS_SCS,
             vcuError.APPS_PB,
             vcuError.BPS_PB,
             vcuCritError.SDC_Disconnected,
             stateStr
             );
//    snprintf(msg, 64, "R ERPM:%ld V:%d", invrtr.erpm, invrtr.inputVoltage);
    ssd1306_SetCursor(0, 11);
    ssd1306_WriteString(msg, Font_7x10);

    snprintf(msg, 64, "S ERPM:%ld", invrtr.setErpm);
    ssd1306_SetCursor(0, 21);
    ssd1306_WriteString(msg, Font_7x10);
}

bool checkSCS(uint16_t value, uint16_t min, uint16_t max)
{
    if (value > max || value < min)
    {
        return true;
    }
    return false;
}

float mapValue(float value, float min_val, float max_val)
{
    if (max_val == min_val) return 0.0f; // avoid division by zero

    if (value > max_val)
    {
        value = max_val;
    }
    else if (value < min_val)
    {
        value = min_val;
    }

    return ((value - min_val) / (max_val - min_val));
}

// Called when first half of buffer is filled
void HAL_ADC_ConvHalfCpltCallback(ADC_HandleTypeDef* hadc)
{
    uint32_t sum1 = 0;
    uint32_t sum2 = 0;
    uint32_t sum3 = 0;

    // Calculate the average of the first half of the buffer
    if (hadc == &hadc1)
    {
        for (int i = 0; i < ADC_BUF_LEN/2; i += 3)
        {
            sum1 += adc1Buff[i];
            sum2 += adc1Buff[i+1];
            sum3 += adc1Buff[i+2];
        }

        // Invert if needed
        uint32_t rawBpsAvg   = (sum1 / (ADC_BUF_LEN/6));
        uint32_t rawApps2Avg = (sum2 / (ADC_BUF_LEN/6));
        uint32_t rawApps1Avg = (sum3 / (ADC_BUF_LEN/6));

        // basic Low pass filter
        float a = 0.9;
        float b = 0.1;
        bpsAvg   = bpsAvg   * a + rawBpsAvg   * b;
        apps2Avg = apps2Avg * a + rawApps2Avg * b;
        apps1Avg = apps1Avg * a + rawApps1Avg * b;
    }

    vcuError.APPS1_SCS = checkSCS(apps1Avg, APPS1_MIN - APPS_SCS_OFFSET, APPS1_MAX + APPS_SCS_OFFSET);
    vcuError.APPS2_SCS = checkSCS(apps2Avg, APPS2_MIN - APPS_SCS_OFFSET, APPS2_MAX + APPS_SCS_OFFSET);
    apps1Scaled =  1.0 - mapValue(apps1Avg, APPS1_MIN, APPS1_MAX);
    apps2Scaled =  1.0 - mapValue(apps2Avg, APPS2_MIN, APPS2_MAX);
    appsPosition = (apps1Scaled + apps2Scaled) / 2;          // Get the average of position from both sensors
    appsDiff = apps1Scaled - apps2Scaled;

    vcuError.BPS_SCS = checkSCS(bpsAvg, BPS_SCS_LOWER, BPS_SCS_UPPER);
    isBrakePressed = (bool)(bpsAvg > BPS_THRESH);
}

// Called when buffer is completely filled
void HAL_ADC_ConvCpltCallback(ADC_HandleTypeDef* hadc)
{
    uint32_t sum1 = 0;
    uint32_t sum2 = 0;
    uint32_t sum3 = 0;

    // Calculate the average of the second half of the buffer
    if (hadc == &hadc1)
    {
        for (int i = ADC_BUF_LEN/2; i < ADC_BUF_LEN; i += 3)
        {
            sum1 += adc1Buff[i];
            sum2 += adc1Buff[i+1];
            sum3 += adc1Buff[i+2];
        }

        // Invert if needed
        uint32_t rawBpsAvg   = (sum1 / (ADC_BUF_LEN/6));
        uint32_t rawApps2Avg = (sum2 / (ADC_BUF_LEN/6));
        uint32_t rawApps1Avg = (sum3 / (ADC_BUF_LEN/6));

        // basic Low pass filter
        float a = 0.9;
        float b = 0.1;
        bpsAvg   = bpsAvg   * a + rawBpsAvg   * b;
        apps2Avg = apps2Avg * a + rawApps2Avg * b;
        apps1Avg = apps1Avg * a + rawApps1Avg * b;
    }

    vcuError.APPS1_SCS = checkSCS(apps1Avg, APPS1_MIN - APPS_SCS_OFFSET, APPS1_MAX + APPS_SCS_OFFSET);
    vcuError.APPS2_SCS = checkSCS(apps2Avg, APPS2_MIN - APPS_SCS_OFFSET, APPS2_MAX + APPS_SCS_OFFSET);
    apps1Scaled =  1.0 - mapValue(apps1Avg, APPS1_MIN, APPS1_MAX);
    apps2Scaled =  1.0 - mapValue(apps2Avg, APPS2_MIN, APPS2_MAX);
    appsPosition = (apps1Scaled + apps2Scaled) / 2;          // Get the average of position from both sensors
    appsDiff = apps1Scaled - apps2Scaled;

    vcuError.BPS_SCS = checkSCS(bpsAvg, BPS_SCS_LOWER, BPS_SCS_UPPER);
    isBrakePressed = (bool)(bpsAvg > BPS_THRESH);
}

/* USER CODE END 4 */

void t_main_func(void *argument)
{
  /* USER CODE BEGIN 5 */
    uint32_t r2dTimer = 0;
    const uint32_t R2D_PERIOD = 2000;
    const uint32_t INVRTR_PERIOD = 20;

    /* Infinite loop */
    for(;;)
    {
        if (isFaultCritical)          // Force to inactive state if crit fault detected
        {
            currVcuState = TS_INACTIVE;
        }

        // State transition checks
        switch (currVcuState)
        {
        case TS_INACTIVE:
            if (buttonPressed_TS && !isFaultCritical)
            {
                currVcuState = TS_ACTIVE;
            }
            break;

        case TS_ACTIVE:
            if (buttonPressed_TS)
            {
                currVcuState = TS_INACTIVE;
                break;
            }
            if (buttonPressed_R2D && !isFaultNormal && (appsPosition < 0.1))
            {
                currVcuState = R2D_TRANSITION;
                break;
            }
            break;

        case R2D_TRANSITION:
            if (buttonPressed_R2D)
            {
                currVcuState = TS_ACTIVE;
                break;
            }
            if ((HAL_GetTick() - r2dTimer) > R2D_PERIOD)
            {
                currVcuState = R2D_MODE;
            }
            break;

        case R2D_MODE:
            if (buttonPressed_R2D)
            {
                currVcuState = TS_ACTIVE;
                break;
            }
            break;

        default:
            break;
        }

        // State transitions
        if (currVcuState != prevVcuState)
        {
            switch (currVcuState)
            {
            case TS_INACTIVE:
                printfDma("VCU State Changed: TS Inactive \n");
                HAL_GPIO_WritePin(DO_SC_RELAY_GPIO_Port,  DO_SC_RELAY_Pin,  0);
                HAL_GPIO_WritePin(DO_R2D_LIGHT_GPIO_Port, DO_R2D_LIGHT_Pin, 0);
                HAL_GPIO_WritePin(DO_R2D_SOUND_GPIO_Port, DO_R2D_SOUND_Pin, 0);
                osTimerStop(tim_invrtrCmdHandle);
                break;

            case TS_ACTIVE:
                printfDma("VCU State Changed: TS Active \n");
                HAL_GPIO_WritePin(DO_SC_RELAY_GPIO_Port,  DO_SC_RELAY_Pin,  1);
                HAL_GPIO_WritePin(DO_R2D_LIGHT_GPIO_Port, DO_R2D_LIGHT_Pin, 0);
                HAL_GPIO_WritePin(DO_R2D_SOUND_GPIO_Port, DO_R2D_SOUND_Pin, 0);
                osTimerStop(tim_invrtrCmdHandle);
                break;

            case R2D_TRANSITION:
                printfDma("VCU State Changed: R2D Transition \n");
                HAL_GPIO_WritePin(DO_SC_RELAY_GPIO_Port,  DO_SC_RELAY_Pin,  1);
                HAL_GPIO_WritePin(DO_R2D_LIGHT_GPIO_Port, DO_R2D_LIGHT_Pin, 1);
                HAL_GPIO_WritePin(DO_R2D_SOUND_GPIO_Port, DO_R2D_SOUND_Pin, 1);
                osTimerStop(tim_invrtrCmdHandle);
                r2dTimer = HAL_GetTick();
                break;

            case R2D_MODE:
                printfDma("VCU State Changed: R2D Mode \n");
                HAL_GPIO_WritePin(DO_SC_RELAY_GPIO_Port,  DO_SC_RELAY_Pin,  1);
                HAL_GPIO_WritePin(DO_R2D_LIGHT_GPIO_Port, DO_R2D_LIGHT_Pin, 1);
                HAL_GPIO_WritePin(DO_R2D_SOUND_GPIO_Port, DO_R2D_SOUND_Pin, 0);

                // Set current limits
                if (!CMD_SEL_ERPM)
                {
                    inverter_setMaxDCCurrent(CMD_DC_CURRENT_MAX);
                    inverter_setMaxACCurrent(CMD_AC_CURRENT_MAX);
                }

                osTimerStart(tim_invrtrCmdHandle, INVRTR_PERIOD);
                break;

            default:
                break;
            }
        }

        buttonPressed_R2D = false;
        buttonPressed_TS = false;

        prevVcuState = currVcuState;
        osDelay(10);
    }
  /* USER CODE END 5 */
}

void t_faultHandler_func(void *argument)
{
  /* USER CODE BEGIN t_faultHandler_func */
    const uint32_t APPS_PB_PERIOD_MS = 100;
    static uint32_t lastAppsPbTime = 0;
    static bool appsPbDetected = false;

    const uint32_t BPS_PB_PERIOD_MS = 500;
    static uint32_t lastBpsPbTime = 0;
    static bool bpsPbDetected = false;

    for(;;)
    {
        uint32_t currentTime = HAL_GetTick();

        // Shutdown circuit input detection
        // Considered as a critical error
        if (HAL_GPIO_ReadPin(SC_IN_GPIO_Port, SC_IN_Pin))
        {
            HAL_GPIO_WritePin(DO_SC_LIGHT_GPIO_Port, DO_SC_LIGHT_Pin, 0);
            vcuCritError.SDC_Disconnected = false;
        }
        else
        {
            HAL_GPIO_WritePin(DO_SC_LIGHT_GPIO_Port, DO_SC_LIGHT_Pin, 1);
            vcuCritError.SDC_Disconnected = true;
        }

        // APPS Plausibility check
        if ((fabsf(appsDiff) > 0.1)) // NOT OK
        {
            if (!appsPbDetected)
            {
                lastAppsPbTime = currentTime;
                appsPbDetected = true;
            }
            else if (currentTime - lastAppsPbTime > APPS_PB_PERIOD_MS)
            {
                vcuError.APPS_PB = true;
            }
        }
        else // OK
        {
            appsPbDetected = false;
            vcuError.APPS_PB = false;
        }

        // APPS BPS Plausibility check
        if (isBrakePressed && appsPosition > 0.25) // NOT OK
        {
            if (!bpsPbDetected)
            {
                lastBpsPbTime = currentTime;
                bpsPbDetected = true;
            }
            else if (currentTime - lastBpsPbTime > BPS_PB_PERIOD_MS)
            {
                vcuError.BPS_PB = true;
            }
        }
        else if (appsPosition < 0.05)       // only clear the flag if apps returns below 5%
        {
            bpsPbDetected = false;
            vcuError.BPS_PB = false;
        }

        // Update the fault flags
        isFaultNormal = (
                vcuError.APPS1_SCS ||
                vcuError.APPS2_SCS ||
                vcuError.APPS_PB ||
                vcuError.BPS_SCS ||
                vcuError.BPS_PB
            );

        isFaultCritical = (
                vcuCritError.SDC_Disconnected
            );

        static uint8_t ledCounter = 0;
        if (ledCounter++ > 50)
        {
            HAL_GPIO_TogglePin(DEBUG_LED_GPIO_Port, DEBUG_LED_Pin);
            ledCounter = 0;
        }
        osDelay(5);
    }

  /* USER CODE END t_faultHandler_func */
}

void t_logging_func(void *argument)
{
  /* USER CODE BEGIN t_logging_func */

    osDelay(500); // Startup delay

    // Start ADC Conversion
    HAL_ADC_Start_DMA(&hadc1, (uint32_t*)adc1Buff, ADC_BUF_LEN);

    // Start CAN
    can_setup();

    /* OLED SCREEN STUFF */
    ssd1306_Init();
    ssd1306_SetRasterInt(1);        // Enable interrupt
//  ssd1306_FlipScreenVertically();

    /* SD card stuff */
    if (isCardDetected)
    {
        printfDma("Block size   : %lu\n", hsd.SdCard.BlockSize);
        printfDma("Block nbmr   : %lu\n", hsd.SdCard.BlockNbr);
        printfDma("Card size    : %lu\n", (hsd.SdCard.BlockSize * hsd.SdCard.BlockNbr) / 1000);
        printfDma("Card ver     : %lu\n", hsd.SdCard.CardVersion);

        if (f_mount(&SDFatFS, (TCHAR const*) SDPath, 0) != FR_OK)
        {
            printfDma("Unable to mount SD Card \n");
            Error_Handler();
        }

        FIL fil;
        UINT bytesRead;
        uint8_t buff[32];

        /* Open a text file (w+ mode)*/
        if (f_open(&fil, "message.txt", FA_WRITE | FA_READ) != FR_OK)
        {
            Error_Handler(); // Error accessing file
        }

        if (f_read(&fil, buff, 32, &bytesRead))
        {
            Error_Handler();
        }

        int val = atoi((char *)buff);
        f_rewind(&fil);

        // Fails if return negative
        if (f_printf(&fil, "%d \n\nSD CARD TEST SUCCESS \n", ++val) < 0)
        {
            Error_Handler();
        }

        printfDma("Runtime Cycle: %d \n", val);

        /* Close the file */
        f_close(&fil);
    }

//    float fr = 0;

  /* Infinite loop */
  for(;;)
  {
        osDelay(10);

//        HAL_GPIO_TogglePin(DEBUG_LED_GPIO_Port, DEBUG_LED_Pin);
//        HAL_GPIO_TogglePin(DO_SC_LIGHT_GPIO_Port,  DO_SC_LIGHT_Pin);

//        fr = fr + 1;

//        printfDma("%f %f %f \n", fr, fr, fr);
//        printfDma("                           \n");
//        char *msg = "Test s\n";
//        HAL_UART_Transmit(&huart2, (uint8_t*)msg, strlen(msg), HAL_MAX_DELAY);

//        HAL_GPIO_TogglePin(DO_R2D_LIGHT_GPIO_Port, DO_R2D_LIGHT_Pin);
//        osDelay(350);
//        HAL_GPIO_TogglePin(DO_R2D_SOUND_GPIO_Port, DO_R2D_SOUND_Pin);
//        osDelay(241);
//        HAL_GPIO_TogglePin(DO_SC_LIGHT_GPIO_Port,  DO_SC_LIGHT_Pin);
//        osDelay(111);
  }
//        _LED_GPIO_Port, DEBUG_LED_Pin);
    //        HAL_GPIO_TogglePin(DO_SC_LIGHT_GPIO_Port,  DO_SC_LIGHT_Pin);

    //        fr = fr + 1;
  /* USER CODE END t_logging_func */
}

/* invrtrCmd_Callback function */
void invrtrCmd_Callback(void *argument)
{
  /* USER CODE BEGIN invrtrCmd_Callback */
    const float MIN_POS = 0.05;
    const float MAX_POS = 0.95;
    float responseMult  = mapValue(appsPosition, MIN_POS, MAX_POS);

    if (isFaultNormal)
    {
        invrtr.setErpm = 0;
        invrtr.setRelativeCurrent = 0;
    }
    else
    {
        invrtr.setErpm = (uint32_t) (responseMult * CMD_ERPM_MAX);
        invrtr.setRelativeCurrent = responseMult;
    }

    if (CMD_SEL_ERPM)
    {
        inverter_setERPM((uint32_t) invrtr.setErpm);
    }
    else
    {
        inverter_setRelativeCurrent(invrtr.setRelativeCurrent);
    }
    inverter_setDriveEnable(1);

    const uint32_t cmdID = 0x20;
    uint32_t id = ((uint32_t)cmdID << 8) | 0x20;
    bool isExtId = true;

    static int canCounter = 0;
    canCounter++;
    uint8_t data[8] = {0};
    data[6] = canCounter >> 8;
    data[7] = canCounter;
    // invrtr.inputVoltage = ((int16_t)data[6] << 8) | data[7];
    can2_sendMsg(id, isExtId, data, sizeof(data));
  /* USER CODE END invrtrCmd_Callback */
}

void HAL_TIM_PeriodElapsedCallback(TIM_HandleTypeDef *htim)
{
  if (htim->Instance == TIM4)
  {
    HAL_IncTick();
  }
}

void Error_Handler(void)
{
  __disable_irq();
  while (1)
  {
  }
}
